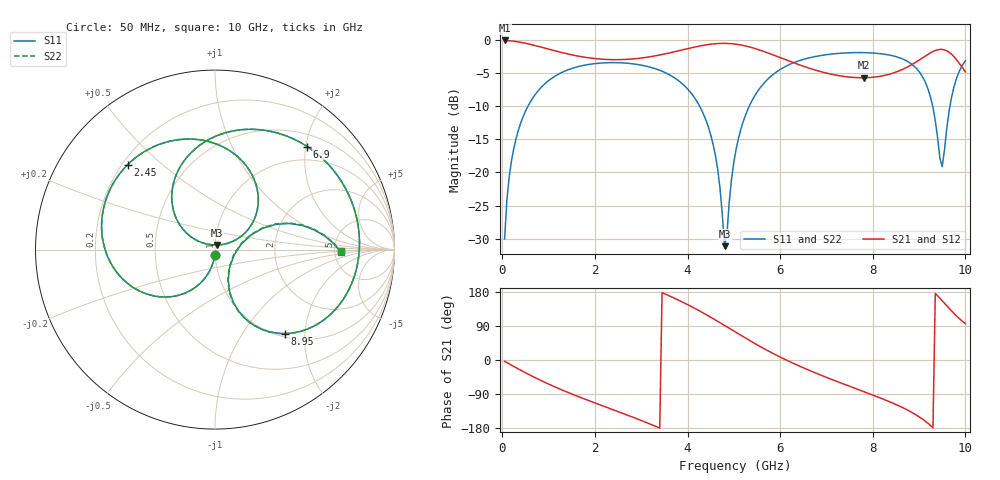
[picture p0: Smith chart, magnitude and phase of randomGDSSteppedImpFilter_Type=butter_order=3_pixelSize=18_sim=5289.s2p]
! freq	dB(S11)	phase(S11)	dB(S12)	phase(S12)
!  dB(S21)	phase(S21)	dB(S22)	phase(S22)
!S-par simulation data
#  GHz  S  DB  R 50
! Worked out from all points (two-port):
!   200 points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, 50 MHz to 10 GHz, reference 50 ohm
!   highest |S21| = -0.01 dB at 50 MHz (marker M1); lowest = -5.7 dB at 7.8 GHz (marker M2)
!   |S21| within 3 dB of the highest: start of sweep to 6.148 GHz; 8.994 GHz to 9.819 GHz (825.1 MHz wide, 8.77 % of centre)
!   lowest |S11| = -31.2 dB at 4.8 GHz (marker M3), VSWR 1.06, Z = 50.9 + j2.64 ohm
!   |S11| at or under -10 dB: start of sweep to 551.3 MHz; 4.263 GHz to 5.331 GHz (1.068 GHz wide, 22.3 % of centre); 9.294 GHz to 9.666 GHz (371.8 MHz wide, 3.92 % of centre)
!   |S22| runs from -31.2 to -1.8 dB; largest |S21 - S12| = 0
!   S11 on the Smith chart (normalised r, x): 50 MHz: 0.99, -0.06; 2.45 GHz: 0.22, +0.39; 6.9 GHz: 0.72, +2.03; 8.95 GHz: 1.06, -1.59; 10 GHz: 5.65, -0.27
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0.05  -30.07 -93.5  -0.01 -3.5  -0.01 -3.5  -30.07 -93.5
0.2  -18.16 -104.2  -0.09 -13.8  -0.09 -13.8  -18.16 -104.2
0.5  -10.73 -124.1  -0.43 -33.6  -0.43 -33.6  -10.73 -124.1
1.05  -5.82 -156.9  -1.42 -66.3  -1.42 -66.3  -5.82 -156.8
1.75  -3.79 167.8  -2.52 -101.7  -2.52 -101.7  -3.79 167.8
2.45  -3.37 135.8  -2.92 -133.9  -2.92 -133.9  -3.37 135.8
3.4  -4.53 90.7  -2.21 -179.6  -2.21 -179.6  -4.53 90.7
3.95  -6.98 60.8  -1.34 149.3  -1.34 149.3  -6.98 60.8
4.4  -12.13 34.4  -0.68 120.0  -0.68 120.0  -12.13 34.4
4.65  -19.49 24.8  -0.48 102.2  -0.48 102.2  -19.49 24.8
4.8  -31.16 69.7  -0.45 91.1  -0.45 91.1  -31.20 69.6
5.05  -16.44 152.1  -0.58 72.6  -0.58 72.6  -16.45 152.1
5.75  -5.75 110.5  -1.94 23.4  -1.94 23.4  -5.75 110.5
6.7  -2.53 57.9  -4.37 -30.9  -4.37 -30.9  -2.53 58.0
6.9  -2.27 48.2  -4.77 -40.9  -4.77 -40.9  -2.27 48.2
7.8  -1.85 7.2  -5.65 -83.2  -5.65 -83.2  -1.85 7.2
8.35  -2.21 -17.8  -5.14 -109.6  -5.14 -109.6  -2.21 -17.8
8.95  -4.30 -50.1  -3.20 -145.9  -3.20 -145.9  -4.30 -50.2
9.25  -8.67 -69.0  -1.86 -173.0  -1.86 -173.0  -8.68 -69.3
9.5  -19.13 -16.5  -1.37 156.4  -1.37 156.4  -19.34 -16.2
9.7  -8.66 22.4  -2.09 129.6  -2.09 129.6  -8.68 22.9
10  -3.10 -1.0  -4.79 95.8  -4.79 95.8  -3.10 -0.7
